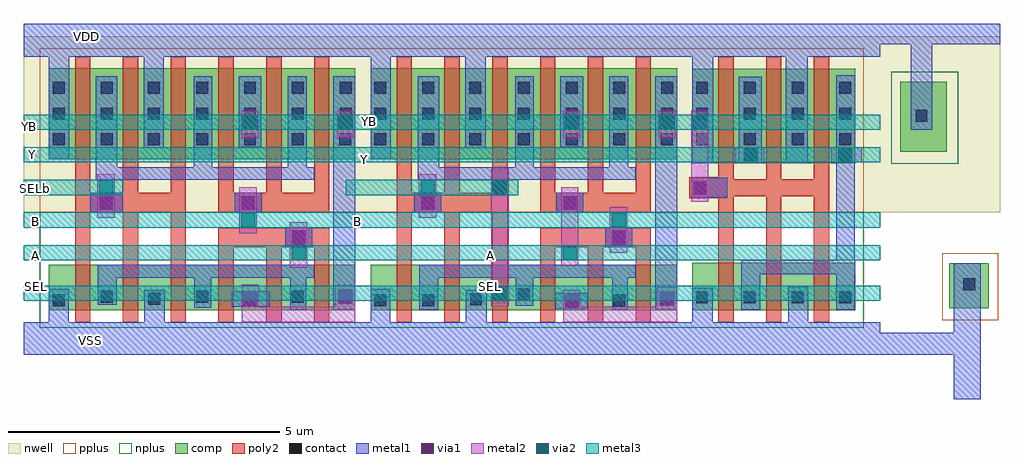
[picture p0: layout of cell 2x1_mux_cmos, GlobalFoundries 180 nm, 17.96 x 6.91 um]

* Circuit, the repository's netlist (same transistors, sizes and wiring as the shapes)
** sch_path: /foss/designs/engn1600-team1/CAD5/2x1_mux_cmos.sch
.subckt 2x1_mux_cmos A SEL SELb Y VDD VSS B Yb
*.PININFO A:I B:I SEL:I Y:O VDD:B VSS:B SELb:I Yb:O
M1 VSS SELb net1 VSS nfet_03v3 L=0.28u W=2.505u nf=1 m=1
M2 net1 A Yb VSS nfet_03v3 L=0.28u W=2.505u nf=1 m=1
M3 Yb B net2 VSS nfet_03v3 L=0.28u W=2.505u nf=1 m=1
M4 net2 SEL VSS VSS nfet_03v3 L=0.28u W=2.505u nf=1 m=1
M5 net3 B Yb VDD pfet_03v3 L=0.28u W=5.01u nf=1 m=1
M6 VDD SELb net3 VDD pfet_03v3 L=0.28u W=5.01u nf=1 m=1
M7 net4 SEL VDD VDD pfet_03v3 L=0.28u W=5.010u nf=1 m=1
M8 Yb A net4 VDD pfet_03v3 L=0.28u W=5.01u nf=1 m=1
M9 VSS Yb Y VSS nfet_03v3 L=0.28u W=2.61u nf=1 m=1
M10 VDD Yb Y VDD pfet_03v3 L=0.28u W=5.22u nf=1 m=1
**** begin user architecture code


.param kI=6.958333
.param kYb=6.958333
.param kY=7.25


**** end user architecture code
.ends

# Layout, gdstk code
import gdstk
lib = gdstk.Library(unit=1e-6, precision=5e-09)
def R(c, l, rs):  # rectangles x0, y0, x1, y1
    for r in rs: c.add(gdstk.rectangle(r[:2], r[2:], *l))
def A(c, l, x, y, w, h, nx, ny, dx, dy):  # array of equal rectangles
    R(c, l, [(x+i*dx, y+j*dy, x+i*dx+w, y+j*dy+h) for i in range(nx) for j in range(ny)])
nwell = (21, 0)
comp = (22, 0)
poly2 = (30, 0)
pplus = (31, 0)
nplus = (32, 0)
contact = (33, 0)
metal1 = (34, 0)
via1 = (35, 0)
metal2 = (36, 0)
via2 = (38, 0)
metal3 = (42, 0)

c_2x1_mux_cmos = lib.new_cell('2x1_mux_cmos')
R(c_2x1_mux_cmos, nwell, [(-4.99,-2.645,12.975,0.595)])
R(c_2x1_mux_cmos, comp, [(-4.53,-4.445,1.11,-3.61), (1.39,-4.445,7.03,-3.61), (7.31,-4.445,10.31,-3.575), (12.045,-4.41,12.765,-3.58), (7.31,-1.74,10.31,0), (-4.53,-1.665,1.11,0.005), (1.39,-1.665,7.03,0.005), (11.135,-1.525,11.995,-0.235)])
A(c_2x1_mux_cmos, poly2, -4.05, -4.665, 0.28, 4.89, 3, 1, 0.88, 0)
A(c_2x1_mux_cmos, poly2, -1.41, -4.665, 0.28, 1.74, 3, 1, 0.88, 0)
A(c_2x1_mux_cmos, poly2, 1.87, -4.665, 0.28, 4.89, 3, 1, 0.88, 0)
A(c_2x1_mux_cmos, poly2, 4.51, -4.665, 0.28, 1.74, 3, 1, 0.88, 0)
A(c_2x1_mux_cmos, poly2, 7.79, -4.665, 0.28, 4.89, 3, 1, 0.88, 0)
A(c_2x1_mux_cmos, poly2, -1.41, -2.645, 0.28, 2.87, 3, 1, 0.88, 0)
A(c_2x1_mux_cmos, poly2, 4.51, -2.645, 0.28, 2.87, 3, 1, 0.88, 0)
R(c_2x1_mux_cmos, poly2, [(-1.13,-3.285,0.35,-2.925), (4.79,-3.285,6.27,-2.925), (-4.05,-2.645,-2.89,-2.285), (-2.89,-2.645,-2.29,-2.285), (-1.13,-2.645,0.35,-2.285), (1.87,-2.645,3.03,-2.285), (3.03,-2.645,3.63,-2.285), (4.79,-2.645,6.27,-2.285), (7.255,-2.38,7.79,-2), (7.79,-2.35,9.83,-2.03)])
R(c_2x1_mux_cmos, pplus, [(11.91,-4.63,12.94,-3.4), (-4.7,-2.645,10.47,0.375)])
R(c_2x1_mux_cmos, nplus, [(-4.7,-4.765,10.47,-2.645), (10.97,-1.745,12.205,-0.055)])
A(c_2x1_mux_cmos, contact, 7.38, -4.315, 0.22, 0.22, 4, 2, 0.88, 2.91)
A(c_2x1_mux_cmos, contact, 7.38, -0.935, 0.22, 0.22, 4, 2, 0.88, 0.475)
R(c_2x1_mux_cmos, contact, [(-4.46,-4.375,-4.24,-4.155), (1.46,-4.375,1.68,-4.155), (2.34,-4.375,2.56,-4.155), (4.98,-4.375,5.2,-4.155), (5.855,-4.375,6.075,-4.155), (-0.94,-4.36,-0.72,-4.14), (3.22,-4.355,3.44,-4.135), (-2.7,-4.34,-2.48,-4.12), (6.735,-4.34,6.955,-4.12), (-3.58,-4.31,-3.36,-4.09), (-1.82,-4.31,-1.6,-4.09), (-0.065,-4.31,0.155,-4.09), (0.815,-4.31,1.035,-4.09), (4.1,-4.26,4.32,-4.04), (12.3,-4.075,12.52,-3.855), (-0.04,-3.215,0.18,-2.995), (5.85,-3.215,6.07,-2.995), (-3.585,-2.575,-3.365,-2.355), (-0.97,-2.575,-0.75,-2.355), (2.335,-2.575,2.555,-2.355), (4.95,-2.575,5.17,-2.355), (7.36,-2.305,7.58,-2.085), (-4.46,-1.405,-4.24,-1.185), (-3.58,-1.405,-3.36,-1.185), (-2.715,-1.405,-2.495,-1.185), (-1.82,-1.405,-1.6,-1.185), (-0.94,-1.405,-0.72,-1.185), (-0.065,-1.405,0.155,-1.185), (0.815,-1.405,1.035,-1.185), (1.46,-1.405,1.68,-1.185), (2.34,-1.405,2.56,-1.185), (3.205,-1.405,3.425,-1.185), (4.1,-1.405,4.32,-1.185), (4.98,-1.405,5.2,-1.185), (5.855,-1.405,6.075,-1.185), (6.735,-1.405,6.955,-1.185), (11.42,-0.975,11.64,-0.755), (-4.46,-0.935,-4.24,-0.715), (-3.58,-0.935,-3.36,-0.715), (-2.715,-0.935,-2.495,-0.715), (-1.82,-0.935,-1.6,-0.715), (-0.94,-0.935,-0.72,-0.715), (-0.065,-0.935,0.155,-0.715), (0.82,-0.935,1.04,-0.715), (1.46,-0.935,1.68,-0.715), (2.34,-0.935,2.56,-0.715), (3.205,-0.935,3.425,-0.715), (4.1,-0.935,4.32,-0.715), (4.98,-0.935,5.2,-0.715), (5.855,-0.935,6.075,-0.715), (6.74,-0.935,6.96,-0.715), (-4.46,-0.46,-4.24,-0.24), (-3.58,-0.46,-3.36,-0.24), (-2.715,-0.46,-2.495,-0.24), (-1.82,-0.46,-1.6,-0.24), (-0.94,-0.46,-0.72,-0.24), (-0.065,-0.46,0.155,-0.24), (0.82,-0.46,1.04,-0.24), (1.46,-0.46,1.68,-0.24), (2.34,-0.46,2.56,-0.24), (3.205,-0.46,3.425,-0.24), (4.1,-0.46,4.32,-0.24), (4.98,-0.46,5.2,-0.24), (5.855,-0.46,6.075,-0.24), (6.74,-0.46,6.96,-0.24)])
R(c_2x1_mux_cmos, metal1, [(12.125,-6.08,12.625,-3.58), (-4.99,-5.265,10.77,-4.665), (10.77,-5.265,12.625,-4.86), (-4.53,-4.665,-4.17,-4.055), (-2.78,-4.665,-2.395,-4.075), (1.39,-4.665,1.75,-4.055), (3.14,-4.665,3.525,-4.075), (7.31,-4.665,7.685,-4.03), (9.075,-4.665,9.445,-4.015), (-0.085,-4.435,0.205,-3.61), (0.705,-4.435,1.11,-1.445), (2.285,-4.435,2.635,-3.61), (5.835,-4.435,6.125,-3.61), (6.625,-4.435,7.03,-1.445), (8.21,-4.435,8.56,-3.525), (9.965,-4.435,10.305,-1.74), (4.79,-4.415,5.39,-4.12), (-1.86,-4.395,-1.54,-3.61), (-1.165,-4.385,-0.465,-4.1), (4.06,-4.36,4.38,-3.61), (-3.635,-4.345,-3.285,-3.61), (-3.635,-3.845,0.35,-3.61), (2.285,-3.845,6.27,-3.61), (8.21,-3.785,10.31,-3.525), (-0.185,-3.285,0.315,-2.925), (5.705,-3.285,6.205,-2.925), (-3.77,-2.645,-3.17,-2.285), (-1.115,-2.645,-0.615,-2.285), (2.19,-2.645,2.69,-2.285), (4.805,-2.645,5.305,-2.285), (7.295,-2.37,7.955,-2.01), (-3.665,-2.045,0.35,-1.815), (-3.665,-2.045,-3.27,-0.14), (-1.87,-2.045,-1.525,-0.14), (-0.135,-2.045,0.215,-0.14), (2.255,-2.045,6.27,-1.815), (2.255,-2.045,2.65,-0.14), (4.05,-2.045,4.395,-0.14), (5.785,-2.045,6.135,-0.14), (7.31,-1.74,7.7,0.225), (8.17,-1.74,8.585,-0.15), (9.035,-1.74,9.435,0.225), (9.965,-1.74,10.31,-0.115), (-4.53,-1.665,-4.155,0.225), (1.39,-1.665,1.765,0.225), (-2.785,-1.45,-2.415,0.225), (3.135,-1.45,3.505,0.225), (-1.035,-1.445,-0.62,-0.14), (0.705,-1.445,1.11,-0.14), (4.885,-1.445,5.3,-0.14), (6.625,-1.445,7.03,-0.14), (11.33,-1.12,11.73,0.53), (-4.99,0.225,10.77,0.825), (10.77,0.455,12.975,0.825)])
R(c_2x1_mux_cmos, via1, [(4.96,-4.4,5.22,-4.14), (-0.96,-4.375,-0.7,-4.115), (6.715,-4.36,6.975,-4.1), (0.795,-4.33,1.055,-4.07), (-0.06,-3.235,0.2,-2.975), (5.83,-3.235,6.09,-2.975), (-3.605,-2.595,-3.345,-2.335), (-0.99,-2.595,-0.73,-2.335), (2.315,-2.595,2.575,-2.335), (4.93,-2.595,5.19,-2.335), (7.32,-2.325,7.58,-2.065), (8.255,-1.715,8.515,-1.455), (10,-1.715,10.26,-1.455), (-0.96,-1.115,-0.7,-0.855), (0.795,-1.115,1.055,-0.855), (4.96,-1.115,5.22,-0.855), (6.715,-1.115,6.975,-0.855)])
R(c_2x1_mux_cmos, metal2, [(-0.985,-4.665,1.11,-4.385), (-0.985,-4.665,-0.67,-3.98), (0.735,-4.665,1.11,-3.985), (4.935,-4.665,7.03,-4.385), (4.935,-4.665,5.25,-4.08), (6.655,-4.665,7.03,-4.02), (3.61,-4.37,3.935,-1.845), (-0.095,-3.665,0.225,-2.825), (4.895,-3.625,5.215,-2.185), (5.795,-3.385,6.115,-2.545), (-1.025,-3.025,-0.705,-2.185), (-3.64,-2.745,-3.32,-1.945), (2.28,-2.745,2.6,-1.945), (7.295,-2.45,7.605,-0.775), (8.09,-1.725,8.64,-1.445), (9.865,-1.725,10.43,-1.445), (-0.98,-1.275,-0.68,-0.775), (0.775,-1.275,1.075,-0.775), (4.94,-1.275,5.24,-0.775), (6.695,-1.275,6.995,-0.775)])
R(c_2x1_mux_cmos, via2, [(3.64,-4.26,3.9,-4), (-0.06,-3.515,0.2,-3.255), (4.925,-3.515,5.185,-3.255), (-0.99,-2.915,-0.73,-2.655), (5.825,-2.915,6.085,-2.655), (-3.605,-2.315,-3.345,-2.055), (2.315,-2.315,2.575,-2.055), (3.64,-2.315,3.9,-2.055), (8.255,-1.715,8.515,-1.455), (10,-1.715,10.26,-1.455), (-0.96,-1.115,-0.7,-0.855), (0.795,-1.115,1.055,-0.855), (4.96,-1.115,5.22,-0.855), (6.715,-1.115,6.975,-0.855), (7.315,-1.115,7.575,-0.855)])
R(c_2x1_mux_cmos, metal3, [(-4.99,-4.27,10.77,-3.99), (-4.99,-3.525,10.77,-3.245), (-4.99,-2.925,10.77,-2.645), (-4.99,-2.325,-3.17,-2.045), (0.93,-2.325,4.11,-2.045), (-4.99,-1.725,10.77,-1.445), (-4.99,-1.125,10.77,-0.845)])
c_2x1_mux_cmos.add(gdstk.Label('YB', (-4.885,-1.055), layer=42, texttype=10))
c_2x1_mux_cmos.add(gdstk.Label('Y', (-4.83,-1.585), layer=42, texttype=10))
c_2x1_mux_cmos.add(gdstk.Label('YB', (1.365,-0.975), layer=42, texttype=10))
c_2x1_mux_cmos.add(gdstk.Label('Y', (1.285,-1.665), layer=42, texttype=10))
c_2x1_mux_cmos.add(gdstk.Label('B', (1.14,-2.82), layer=42, texttype=10))
c_2x1_mux_cmos.add(gdstk.Label('A', (3.59,-3.43), layer=42, texttype=10))
c_2x1_mux_cmos.add(gdstk.Label('SEL', (3.6,-4.005), layer=42, texttype=10))
c_2x1_mux_cmos.add(gdstk.Label('SELb', (-4.77,-2.195), layer=42, texttype=10))
c_2x1_mux_cmos.add(gdstk.Label('B', (-4.78,-2.82), layer=42, texttype=10))
c_2x1_mux_cmos.add(gdstk.Label('A', (-4.77,-3.43), layer=42, texttype=10))
c_2x1_mux_cmos.add(gdstk.Label('SEL', (-4.76,-4.005), layer=42, texttype=10))
c_2x1_mux_cmos.add(gdstk.Label('VDD', (-3.84,0.595), layer=34, texttype=10))
c_2x1_mux_cmos.add(gdstk.Label('VSS', (-3.775,-4.995), layer=34, texttype=10))

lib.write_gds('2x1_mux_cmos.gds')
